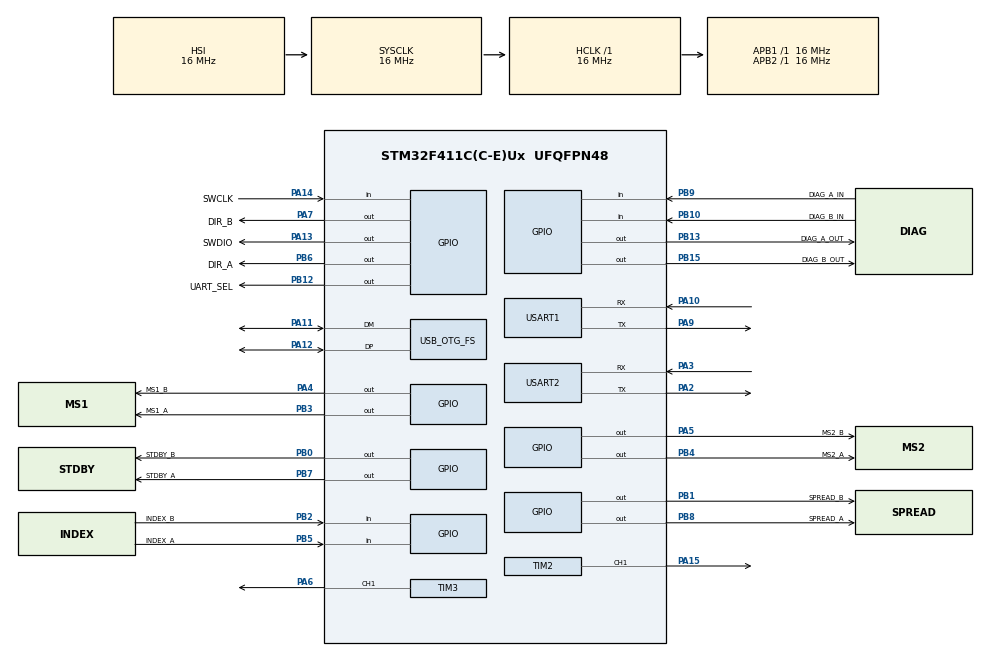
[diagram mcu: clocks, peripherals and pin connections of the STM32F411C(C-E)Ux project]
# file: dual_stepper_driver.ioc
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Mcu.Family=STM32F4
Mcu.Name=STM32F411C(C-E)Ux
Mcu.Package=UFQFPN48
NVIC.OTG_FS_IRQn=true\:0\:0\:false\:false\:true\:false\:true\:true
NVIC.PriorityGroup=NVIC_PRIORITYGROUP_4
NVIC.TIM2_IRQn=true\:0\:0\:false\:false\:true\:true\:true\:true
NVIC.TIM3_IRQn=true\:0\:0\:false\:false\:true\:true\:true\:true
PA10.Mode=Asynchronous
PA10.Signal=USART1_RX
PA11.Mode=Device_Only
PA11.Signal=USB_OTG_FS_DM
PA12.Mode=Device_Only
PA12.Signal=USB_OTG_FS_DP
PA13.GPIO_Label=SWDIO
PA13.Signal=GPIO_Output
PA14.GPIO_Label=SWCLK
PA14.Signal=GPIO_Input
PA15.Signal=S_TIM2_CH1_ETR
PA2.Mode=Asynchronous
PA2.Signal=USART2_TX
PA3.Mode=Asynchronous
PA3.Signal=USART2_RX
PA4.GPIO_Label=MS1_B
PA4.Signal=GPIO_Output
PA5.GPIO_Label=MS2_B
PA5.Signal=GPIO_Output
PA6.Signal=S_TIM3_CH1
PA7.GPIO_Label=DIR_B
PA7.Signal=GPIO_Output
PA9.Mode=Asynchronous
PA9.Signal=USART1_TX
PB0.GPIO_Label=STDBY_B
PB0.Signal=GPIO_Output
PB1.GPIO_Label=SPREAD_B
PB1.Signal=GPIO_Output
PB10.GPIO_Label=DIAG_B_IN
PB10.Signal=GPIO_Input
PB12.GPIO_Label=UART_SEL
PB12.Signal=GPIO_Output
PB13.GPIO_Label=DIAG_A_OUT
PB13.Signal=GPIO_Output
PB15.GPIO_Label=DIAG_B_OUT
PB15.Signal=GPIO_Output
PB2.GPIO_Label=INDEX_B
PB2.Signal=GPIO_Input
PB3.GPIO_Label=MS1_A
PB3.Signal=GPIO_Output
PB4.GPIO_Label=MS2_A
PB4.Signal=GPIO_Output
PB5.GPIO_Label=INDEX_A
PB5.Signal=GPIO_Input
PB6.GPIO_Label=DIR_A
PB6.Signal=GPIO_Output
PB7.GPIO_Label=STDBY_A
PB7.Signal=GPIO_Output
PB8.GPIO_Label=SPREAD_A
PB8.Signal=GPIO_Output
PB9.GPIO_Label=DIAG_A_IN
PB9.Signal=GPIO_Input
PH0\ -\ OSC_IN.Mode=HSE-External-Clock-Source
PH0\ -\ OSC_IN.Signal=RCC_OSC_IN
PH1\ -\ OSC_OUT.Mode=HSE-External-Clock-Source
PH1\ -\ OSC_OUT.Signal=RCC_OSC_OUT
ProjectManager.HeapSize=0x200
ProjectManager.StackSize=0x400
ProjectManager.TargetToolchain=STM32CubeIDE
RCC.48MHZClocksFreq_Value=48000000
RCC.AHBFreq_Value=16000000
RCC.APB1Freq_Value=16000000
RCC.APB1TimFreq_Value=16000000
RCC.APB2Freq_Value=16000000
RCC.APB2TimFreq_Value=16000000
RCC.CortexFreq_Value=16000000
RCC.HCLKFreq_Value=16000000
RCC.HSE_VALUE=24000000
RCC.HSI_VALUE=16000000
RCC.LSE_VALUE=32768
RCC.PLLM=12
RCC.PLLQ=8
RCC.SYSCLKFreq_VALUE=16000000
RCC.VCOOutputFreq_Value=384000000
SH.S_TIM2_CH1_ETR.0=TIM2_CH1,PWM Generation1 CH1
SH.S_TIM3_CH1.0=TIM3_CH1,PWM Generation1 CH1
TIM2.Channel-PWM\ Generation1\ CH1=TIM_CHANNEL_1
TIM2.Period=320-1
TIM2.Prescaler=1-1
TIM3.Channel-PWM\ Generation1\ CH1=TIM_CHANNEL_1
TIM3.Period=320-1
TIM3.Prescaler=1-1
USART1.VirtualMode=VM_ASYNC
USART2.VirtualMode=VM_ASYNC
USB_DEVICE.CLASS_NAME_FS=CDC
USB_DEVICE.VirtualMode=Cdc
USB_DEVICE.VirtualModeFS=Cdc_FS
USB_OTG_FS.VirtualMode=Device_Only
VP_TIM2_VS_ClockSourceINT.Mode=Internal
VP_TIM3_VS_ClockSourceINT.Mode=Internal
VP_USB_DEVICE_VS_USB_DEVICE_CDC_FS.Mode=CDC_FS
board=custom

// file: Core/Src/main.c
/* USER CODE BEGIN Header */
/**
  ******************************************************************************
  * @file           : main.c
  * @brief          : Main program body
  ******************************************************************************
  * @attention
  *
  * Copyright (c) 2025 STMicroelectronics.
  * All rights reserved.
  *
  * This software is licensed under terms that can be found in the LICENSE file
  * in the root directory of this software component.
  * If no LICENSE file comes with this software, it is provided AS-IS.
  *
  ******************************************************************************
  */
/* USER CODE END Header */
#include "main.h"
#include "tim.h"
#include "usart.h"
#include "usb_device.h"
#include "gpio.h"

/* USER CODE BEGIN Includes */
#include "TMC2209.hpp"
/* USER CODE END Includes */

/* USER CODE BEGIN PD */
#define USB_BUFLEN 128
#define INTERNAL_CLK 16000000
/* USER CODE END PD */

/* USER CODE BEGIN PV */
uint8_t usbTxBuf[USB_BUFLEN];
uint16_t usbTxBufLen;

uint8_t usbRxBuf[USB_BUFLEN];
uint16_t usbRxBufLen;
uint8_t usbRxFlag = 0;

/* USER CODE END PV */

void SystemClock_Config(void);
/* USER CODE BEGIN PFP */
uint32_t rpm_to_counter_period(int rpm);
void set_direction(uint8_t addr);
/* USER CODE END PFP */

/* USER CODE BEGIN 0 */
void USB_RXCallback(uint8_t *buf, uint32_t *len)
{
	memcpy(usbRxBuf, buf, *len);
	usbRxBufLen = *len;
	usbRxFlag = 1;
}
/* USER CODE END 0 */

int main(void)
{

  /* USER CODE BEGIN 1 */
	TMC2209 motorA(GPIOB, MS1_A_Pin, GPIOB, MS1_B_Pin, 0x00, &huart1);
	TMC2209 motorB(GPIOA, MS2_A_Pin, GPIOA, MS2_B_Pin, 0x01, &huart1);
  /* USER CODE END 1 */

  /* MCU Configuration--------------------------------------------------------*/

  /* Reset of all peripherals, Initializes the Flash interface and the Systick. */
  HAL_Init();

  /* Configure the system clock */
  SystemClock_Config();

  /* Initialize all configured peripherals */
  MX_GPIO_Init();
  MX_USART1_UART_Init();
  MX_USART2_UART_Init();
  MX_USB_DEVICE_Init();
  MX_TIM2_Init();
  MX_TIM3_Init();
  /* USER CODE BEGIN 2 */
  //Default 50kHz
  __HAL_TIM_SET_COMPARE(&htim2, TIM_CHANNEL_1, 0.05 * 320);
  HAL_TIM_PWM_Start(&htim1, TIM_CHANNEL_1);
  __HAL_TIM_SET_COMPARE(&htim3, TIM_CHANNEL_1, 0.05 * 320);
  HAL_TIM_PWM_Start(&htim1, TIM_CHANNEL_1);
  /* USER CODE END 2 */

  /* Infinite loop */
  while (1)
  {

  }
}

void SystemClock_Config(void)
{
  RCC_OscInitTypeDef RCC_OscInitStruct = {0};
  RCC_ClkInitTypeDef RCC_ClkInitStruct = {0};

  /** Configure the main internal regulator output voltage
  */
  __HAL_RCC_PWR_CLK_ENABLE();
  __HAL_PWR_VOLTAGESCALING_CONFIG(PWR_REGULATOR_VOLTAGE_SCALE1);

  /** Initializes the RCC Oscillators according to the specified parameters
  * in the RCC_OscInitTypeDef structure.
  */
  RCC_OscInitStruct.OscillatorType = RCC_OSCILLATORTYPE_HSI|RCC_OSCILLATORTYPE_HSE;
  RCC_OscInitStruct.HSEState = RCC_HSE_BYPASS;
  RCC_OscInitStruct.HSIState = RCC_HSI_ON;
  RCC_OscInitStruct.HSICalibrationValue = RCC_HSICALIBRATION_DEFAULT;
  RCC_OscInitStruct.PLL.PLLState = RCC_PLL_ON;
  RCC_OscInitStruct.PLL.PLLSource = RCC_PLLSOURCE_HSE;
  RCC_OscInitStruct.PLL.PLLM = 12;
  RCC_OscInitStruct.PLL.PLLN = 192;
  RCC_OscInitStruct.PLL.PLLP = RCC_PLLP_DIV2;
  RCC_OscInitStruct.PLL.PLLQ = 8;
  if (HAL_RCC_OscConfig(&RCC_OscInitStruct) != HAL_OK)
  {
    Error_Handler();
  }

  /** Initializes the CPU, AHB and APB buses clocks
  */
  RCC_ClkInitStruct.ClockType = RCC_CLOCKTYPE_HCLK|RCC_CLOCKTYPE_SYSCLK
                              |RCC_CLOCKTYPE_PCLK1|RCC_CLOCKTYPE_PCLK2;
  RCC_ClkInitStruct.SYSCLKSource = RCC_SYSCLKSOURCE_HSI;
  RCC_ClkInitStruct.AHBCLKDivider = RCC_SYSCLK_DIV1;
  RCC_ClkInitStruct.APB1CLKDivider = RCC_HCLK_DIV1;
  RCC_ClkInitStruct.APB2CLKDivider = RCC_HCLK_DIV1;

  if (HAL_RCC_ClockConfig(&RCC_ClkInitStruct, FLASH_LATENCY_0) != HAL_OK)
  {
    Error_Handler();
  }
}

/* USER CODE BEGIN 4 */
uint32_t rpm_to_counter_period(int rpm)
{
	uint32_t step_freq = (uint32_t)(rpm * 200 * 16 / 60);
	uint32_t period = (INTERNAL_CLK / step_freq) - 1;
	return period;
}

void set_direction(uint8_t addr, uint8_t dir)
{
	GPIO_PinState output;
	if(dir){
		output = GPIO_PIN_SET;
	}else{
		output = GPIO_PIN_RESET;
	}
	switch(addr){
		case 0x00:
			HAl_GPIO_WritePin(GPIOB, DIR_A_Pin, output);
			break;
		case 0x01:
			HAl_GPIO_WritePin(GPIOA, DIR_B_Pin, output);
			break;
		default:
			break;
	}
}
/* USER CODE END 4 */

void Error_Handler(void)
{
  __disable_irq();
  while (1)
  {
  }
}
